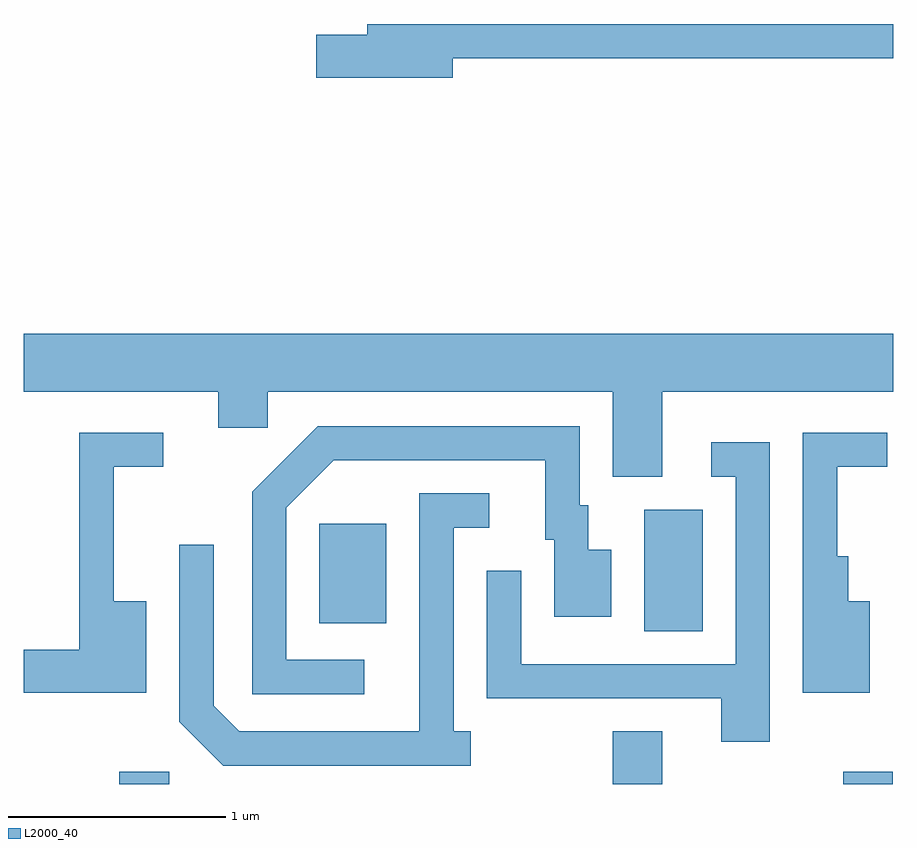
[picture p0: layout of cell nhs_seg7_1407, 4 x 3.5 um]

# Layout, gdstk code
import gdstk
lib = gdstk.Library(unit=1e-6, precision=1e-09)
def R(c, l, rs):  # rectangles x0, y0, x1, y1
    for r in rs: c.add(gdstk.rectangle(r[:2], r[2:], *l))
def P(c, l, *ps):  # polygons
    for p in ps: c.add(gdstk.Polygon(p, *l))
L2000_40 = (2000, 40)

nhs_seg7_1407 = lib.new_cell('nhs_seg7_1407')
R(nhs_seg7_1407, L2000_40, [(228.051,1750.252,228.279,1750.309), (230.321,1750.252,230.549,1750.494), (231.381,1750.252,231.609,1750.309), (230.466,1750.956,230.734,1751.514), (228.971,1750.991,229.279,1751.449)])
P(nhs_seg7_1407, L2000_40, [(229.584,1753.591),(231.611,1753.591),(231.611,1753.749),(229.191,1753.749),(229.191,1753.699),(228.956,1753.699),(228.956,1753.501),(229.584,1753.501)],
  [(230.549,1752.056),(231.611,1752.056),(231.611,1752.324),(227.611,1752.324),(227.611,1752.056),(228.506,1752.056),(228.506,1751.891),(228.734,1751.891),(228.734,1752.056),(230.321,1752.056),(230.321,1751.666),(230.549,1751.666)],
  [(229.178,1750.824),(228.819,1750.824),(228.819,1751.524),(229.037,1751.741),(230.011,1751.741),(230.011,1751.376),(230.051,1751.376),(230.051,1751.021),(230.314,1751.021),(230.314,1751.329),(230.209,1751.329),(230.209,1751.534),(230.169,1751.534),(230.169,1751.899),(228.964,1751.899),(228.661,1751.597),(228.661,1750.666),(229.178,1750.666)],
  [(231.504,1751.094),(231.404,1751.094),(231.404,1751.299),(231.354,1751.299),(231.354,1751.711),(231.583,1751.711),(231.583,1751.869),(231.196,1751.869),(231.196,1750.671),(231.504,1750.671)],
  [(228.174,1751.094),(228.024,1751.094),(228.024,1751.711),(228.253,1751.711),(228.253,1751.869),(227.866,1751.869),(227.866,1750.869),(227.611,1750.869),(227.611,1750.671),(228.174,1750.671)],
  [(231.044,1751.824),(230.773,1751.824),(230.773,1751.666),(230.886,1751.666),(230.886,1750.804),(229.899,1750.804),(229.899,1751.233),(229.741,1751.233),(229.741,1750.646),(230.821,1750.646),(230.821,1750.446),(231.044,1750.446)],
  [(229.668,1750.494),(229.589,1750.494),(229.589,1751.431),(229.753,1751.431),(229.753,1751.589),(229.431,1751.589),(229.431,1750.494),(228.602,1750.494),(228.484,1750.612),(228.484,1751.353),(228.326,1751.353),(228.326,1750.539),(228.529,1750.336),(229.668,1750.336)])

lib.write_gds('nhs_seg7_1407.gds')
